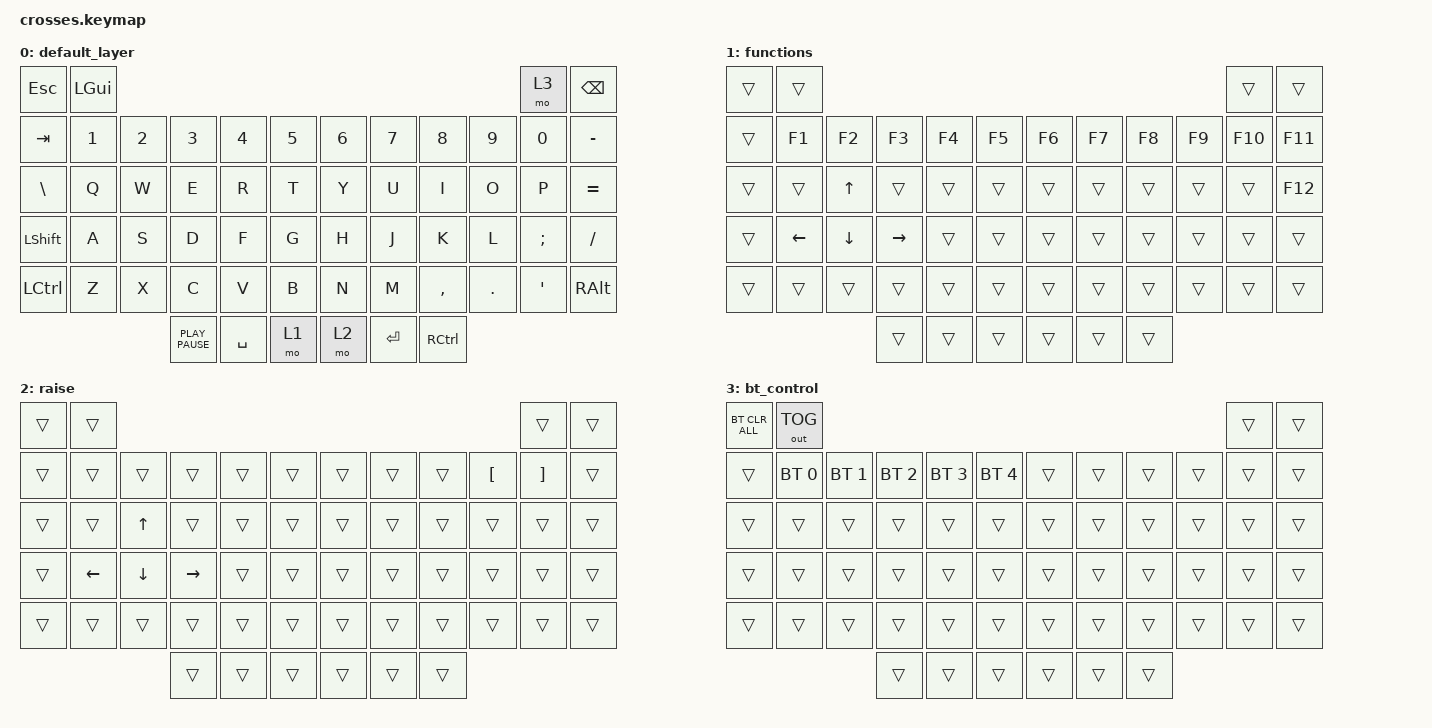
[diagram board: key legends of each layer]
#include <dt-bindings/zmk/mouse.h>
#include <behaviors/mouse_keys.dtsi>
#include <behaviors.dtsi>
#include <dt-bindings/zmk/bt.h>
#include <dt-bindings/zmk/keys.h>
#include <dt-bindings/zmk/outputs.h>

/ {
    /*
    tpad_central_listener {
        compatible = "zmk,input-behavior-listener";
        device = <&glidepoint0>;
        layers = <0 1>;
        y-invert;
        scale-multiplier = <2>;
        // xy-swap;
        // x-invert;
	};

    
    tpad_central_scroll {
        compatible = "zmk,input-behavior-listener";
        device = <&glidepoint0>;
        layers = <2>;
        // NOTE: only apply input-code overriding for INPUT_EV_REL
        evt-type = <INPUT_EV_REL>;
        x-input-code = <INPUT_REL_HWHEEL>;
        y-input-code = <INPUT_REL_WHEEL>;
        bindings = <&ib_wheel_scaler 1 8>;
    };

    ib_wheel_scaler: ib_wheel_scaler {
            compatible = "zmk,input-behavior-scaler";
            #binding-cells = <2>;
            evt-type = <INPUT_EV_REL>;
            input-code = <INPUT_REL_WHEEL>;
    };
*/

    combos {
        compatible = "zmk,combos";

        studio_unlock {
            bindings = <&studio_unlock>;
            key-positions = <0 1>;
        };

        to_bt_control {
            bindings = <&sl 3>;
            key-positions = <54 55>;
        };

        bootloader_left {
            bindings = <&bootloader>;
            key-positions = <40 0 1>;
        };

        bootloader_right {
            bindings = <&bootloader>;
            key-positions = <2 3 51>;
        };
    };

    chosen { zephyr,console = &cdc_acm_uart; };

    keymap {
        compatible = "zmk,keymap";

        default_layer {
            bindings = <
&kp ESC         &kp LEFT_GUI                                                                                      &mo 3     &kp BACKSPACE
&kp TAB         &kp N1        &kp N2  &kp N3            &kp N4     &kp N5  &kp N6  &kp N7     &kp N8     &kp N9   &kp N0    &kp MINUS
&kp BACKSLASH   &kp Q         &kp W   &kp E             &kp R      &kp T   &kp Y   &kp U      &kp I      &kp O    &kp P     &kp EQUAL
&kp LEFT_SHIFT  &kp A         &kp S   &kp D             &kp F      &kp G   &kp H   &kp J      &kp K      &kp L    &kp SEMI  &kp FSLH
&kp LCTRL       &kp Z         &kp X   &kp C             &kp V      &kp B   &kp N   &kp M      &kp COMMA  &kp DOT  &kp APOS  &kp RALT
                                      &kp K_PLAY_PAUSE  &kp SPACE  &mo 1   &mo 2   &kp ENTER  &kp RCTRL
            >;

            // sensor-bindings =<&inc_dec_kp C_VOL_DN C_VOL_UP>;
        };

        functions {
            bindings = <
&trans  &trans                                                                             &trans   &trans
&trans  &kp F1    &kp F2        &kp F3     &kp F4  &kp F5  &kp F6  &kp F7  &kp F8  &kp F9  &kp F10  &kp F11
&trans  &trans    &kp UP_ARROW  &trans     &trans  &trans  &trans  &trans  &trans  &trans  &trans   &kp F12
&trans  &kp LEFT  &kp DOWN      &kp RIGHT  &trans  &trans  &trans  &trans  &trans  &trans  &trans   &trans
&trans  &trans    &trans        &trans     &trans  &trans  &trans  &trans  &trans  &trans  &trans   &trans
                                &trans     &trans  &trans  &trans  &trans  &trans
            >;

            //  sensor-bindings = <&inc_dec_kp RIGHT LEFT>;
        };

        raise {
            bindings = <
&trans  &trans                                                                                               &trans             &trans
&trans  &trans          &trans          &trans     &trans  &trans  &trans  &trans  &trans  &kp LEFT_BRACKET  &kp RIGHT_BRACKET  &trans
&trans  &trans          &kp UP_ARROW    &trans     &trans  &trans  &trans  &trans  &trans  &trans            &trans             &trans
&trans  &kp LEFT_ARROW  &kp DOWN_ARROW  &kp RIGHT  &trans  &trans  &trans  &trans  &trans  &trans            &trans             &trans
&trans  &trans          &trans          &trans     &trans  &trans  &trans  &trans  &trans  &trans            &trans             &trans
                                        &trans     &trans  &trans  &trans  &trans  &trans
            >;
        };

        bt_control {
            bindings = <
&bt BT_CLR_ALL  &out OUT_TOG                                                                                          &trans  &trans
&trans          &bt BT_SEL 0  &bt BT_SEL 1  &bt BT_SEL 2  &bt BT_SEL 3  &bt BT_SEL 4  &trans  &trans  &trans  &trans  &trans  &trans
&trans          &trans        &trans        &trans        &trans        &trans        &trans  &trans  &trans  &trans  &trans  &trans
&trans          &trans        &trans        &trans        &trans        &trans        &trans  &trans  &trans  &trans  &trans  &trans
&trans          &trans        &trans        &trans        &trans        &trans        &trans  &trans  &trans  &trans  &trans  &trans
                                            &trans        &trans        &trans        &trans  &trans  &trans
            >;
        };
    };
};

&usbd {
    status = "okay";

    cdc_acm_uart: cdc_acm_uart {
        compatible = "zephyr,cdc-acm-uart";
        label = "CDC_ACM_0";
    };
};
